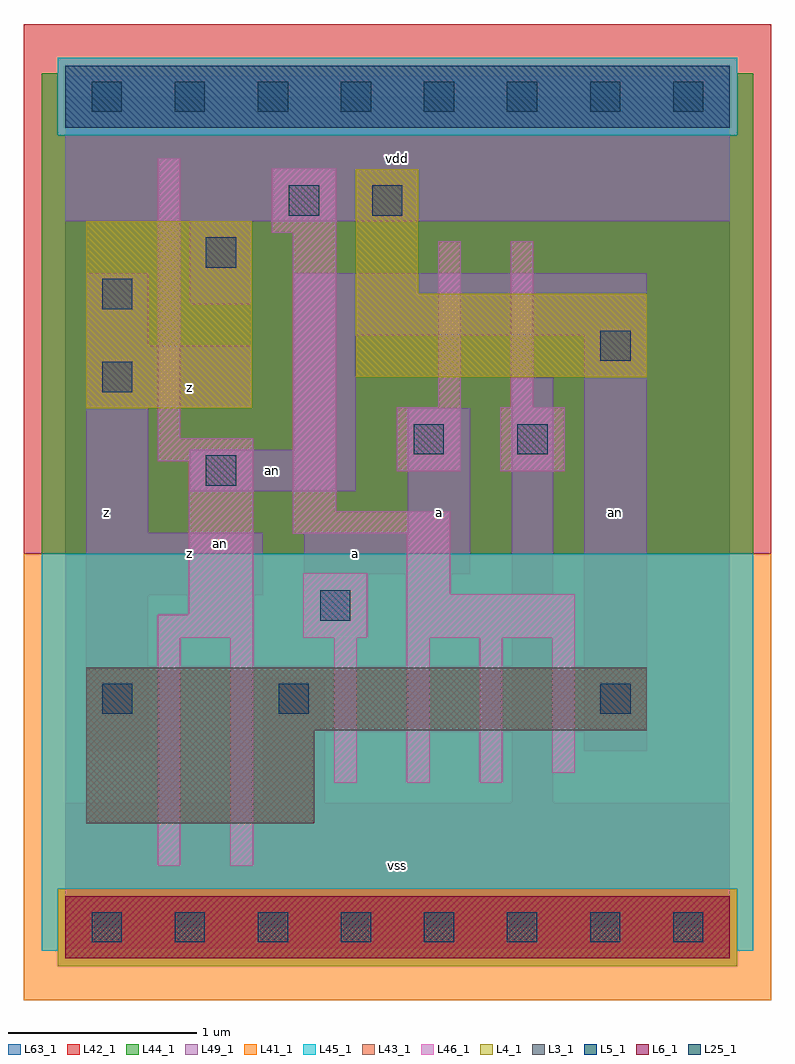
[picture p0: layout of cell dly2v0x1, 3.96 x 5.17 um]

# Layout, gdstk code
import gdstk
lib = gdstk.Library(unit=1e-6, precision=1e-09)
def R(c, l, rs):  # rectangles x0, y0, x1, y1
    for r in rs: c.add(gdstk.rectangle(r[:2], r[2:], *l))
def A(c, l, x, y, w, h, nx, ny, dx, dy):  # array of equal rectangles
    R(c, l, [(x+i*dx, y+j*dy, x+i*dx+w, y+j*dy+h) for i in range(nx) for j in range(ny)])
L3_1 = (3, 1)
L4_1 = (4, 1)
L5_1 = (5, 1)
L6_1 = (6, 1)
L25_1 = (25, 1)
L41_1 = (41, 1)
L42_1 = (42, 1)
L43_1 = (43, 1)
L44_1 = (44, 1)
L45_1 = (45, 1)
L46_1 = (46, 1)
L49_1 = (49, 1)
L63_1 = (63, 1)

dly2v0x1 = lib.new_cell('dly2v0x1')
R(dly2v0x1, L3_1, [(0.11,0.55,1.32,1.045), (0.11,1.045,3.08,1.375)])
R(dly2v0x1, L4_1, [(0.11,2.75,0.99,3.74), (1.54,2.915,3.08,3.355), (1.54,3.355,1.87,4.015)])
R(dly2v0x1, L5_1, [(0,4.235,3.52,4.565)])
R(dly2v0x1, L6_1, [(0,-0.165,3.52,0.165)])
A(dly2v0x1, L25_1, 0.14, -0.08, 0.16, 0.16, 8, 2, 0.44, 4.4)
R(dly2v0x1, L25_1, [(0.195,1.13,0.355,1.29), (1.13,1.13,1.29,1.29), (2.835,1.13,2.995,1.29), (1.35,1.625,1.51,1.785), (0.745,2.34,0.905,2.5), (1.845,2.505,2.005,2.665), (2.395,2.505,2.555,2.665), (0.195,2.835,0.355,2.995), (2.835,3,2.995,3.16), (0.195,3.275,0.355,3.435), (0.745,3.495,0.905,3.655), (1.185,3.77,1.345,3.93), (1.625,3.77,1.785,3.93)])
R(dly2v0x1, L41_1, [(-0.22,-0.385,3.74,1.98)])
R(dly2v0x1, L42_1, [(-0.22,1.98,3.74,4.785)])
R(dly2v0x1, L43_1, [(0,-0.165,3.52,0.165), (0.11,0.55,1.32,1.045), (0.11,1.045,3.08,1.375), (0.11,2.75,0.99,3.74), (1.54,2.915,3.08,3.355), (1.54,3.355,1.87,4.015), (0,4.235,3.52,4.565)])
R(dly2v0x1, L44_1, [(-0.04,-0.205,3.56,0.205), (-0.125,1.98,3.645,4.195), (-0.125,4.195,-0.04,4.525), (3.56,4.195,3.645,4.525)])
R(dly2v0x1, L45_1, [(-0.125,-0.125,-0.04,0.205), (3.56,-0.125,3.645,0.205), (-0.125,0.205,3.645,1.98), (-0.04,4.195,3.56,4.605)])
A(dly2v0x1, L46_1, 1.425, 0.765, 0.12, 0.77, 3, 1, 0.385, 0)
R(dly2v0x1, L46_1, [(0.49,0.325,0.61,1.535), (0.875,0.325,0.995,1.535), (2.58,0.82,2.7,1.535), (0.49,1.535,0.995,1.655), (1.26,1.535,1.6,1.875), (1.81,1.535,2.7,1.765), (0.655,1.655,0.995,2.47), (1.81,1.765,2.04,2.085), (1.205,2.085,2.04,2.205), (1.205,2.205,1.435,3.68), (1.755,2.415,2.095,2.755), (2.305,2.415,2.645,2.755), (0.49,2.47,0.995,2.59), (0.49,2.59,0.61,4.075), (1.975,2.755,2.095,3.635), (2.36,2.755,2.48,3.635), (1.095,3.68,1.435,4.02)])
R(dly2v0x1, L49_1, [(0,-0.11,3.52,0.66), (1.045,0.66,1.375,1.32), (2.365,0.66,2.585,2.915), (0.11,0.935,0.44,1.76), (2.75,0.935,3.08,3.135), (1.265,1.54,1.595,1.87), (0.11,1.76,1.045,2.09), (1.265,1.87,2.145,2.09), (0.11,2.09,0.44,2.75), (1.815,2.09,2.145,2.75), (0.66,2.31,1.54,2.53), (1.21,2.53,1.54,3.135), (0.11,2.75,0.99,3.08), (0.11,3.08,0.44,3.465), (1.21,3.135,3.08,3.465), (0.66,3.3,0.99,3.74), (0,3.74,3.52,4.51)])
R(dly2v0x1, L63_1, [(0,0,3.52,4.4)])
dly2v0x1.add(gdstk.Label('an', (0.825,2.035), layer=46, texttype=1))
dly2v0x1.add(gdstk.Label('z', (0.66,1.98), layer=49, texttype=1))
dly2v0x1.add(gdstk.Label('z', (0.22,2.2), layer=49, texttype=1))
dly2v0x1.add(gdstk.Label('z', (0.66,2.86), layer=49, texttype=1))
dly2v0x1.add(gdstk.Label('a', (1.54,1.98), layer=49, texttype=1))
dly2v0x1.add(gdstk.Label('an', (1.1,2.42), layer=49, texttype=1))
dly2v0x1.add(gdstk.Label('vss', (1.76,0.33), layer=49, texttype=1))
dly2v0x1.add(gdstk.Label('a', (1.98,2.2), layer=49, texttype=1))
dly2v0x1.add(gdstk.Label('vdd', (1.76,4.07), layer=49, texttype=1))
dly2v0x1.add(gdstk.Label('an', (2.915,2.2), layer=49, texttype=1))

lib.write_gds('dly2v0x1.gds')
